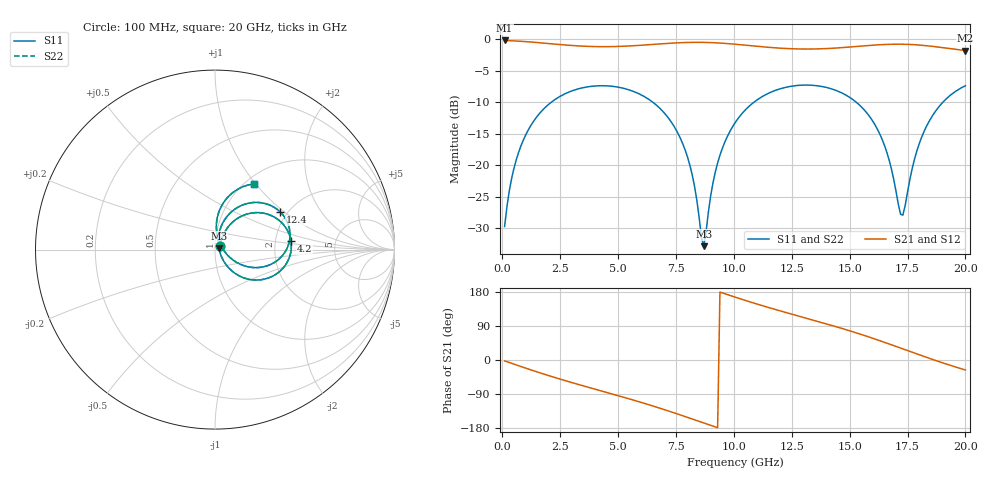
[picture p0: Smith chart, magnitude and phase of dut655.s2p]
! Touchstone file exported from HFSS 2026.1.0
!  File:  C:/ffzhzh/LocalFiles/Ansys_Project_Files/temp_train_TSV_RDL_655_1783129823_37876.aedt
!  Generated:  10:01:14 AM Jul  4, 2026
!  Design:  TSV_RDL
!  Project:  temp_train_TSV_RDL_655_1783129823_37876
! Variables:
!  h_bsmrdl = 4.31um
!  h_ox = 20um
!  h_rdl = 5um
!  h_sub = 64.74um
!  h_tmrdl = 5.51um
!  h_tsv = 64.74um
!  h_via = 3um
!  l_bsmrdl = 932.62um
!  l_sub = 6345.12um
!  l_tmrdl = 758um
!  m_sub = 200um
!  pitch = 40.49um
!  r_tsv = 13.31um
!  s_tmrdl = 10um
!  w_bsmrdl = 27.07um
!  w_sub = 500um
!  w_tmrdl = 11.35um
!  x_tsv_center1 = 763.675um
!  x_tsv_center2 = 1723.365um
!  x_tsv_center3 = 2492.715um
!  x_tsv_center4 = 3452.405um
!  x_tsv_center5 = 4221.755um
!  x_tsv_center6 = 5181.445um
# GHz S MA R 50.000000
! Terminal data exported
! Port[1] = TM_RDL1_1_T1
! Port[2] = TM_RDL5_1_T1
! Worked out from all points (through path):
!   200 points, 100 MHz to 20 GHz, reference 50 ohm
!   highest |S21| = -0.23 dB at 100 MHz (marker M1); lowest = -1.8 dB at 20 GHz (marker M2)
!   group delay of S21, straight-line fit = 53 ps
!   lowest |S11| = -32.8 dB at 8.7 GHz (marker M3), VSWR 1.05, Z = 52.2 + j0.681 ohm
!   |S11| at or under -10 dB: start of sweep to 2.125 GHz; 6.493 GHz to 10.88 GHz (4.382 GHz wide, 50.5 % of centre); 15.28 GHz to 19.04 GHz (3.756 GHz wide, 21.9 % of centre)
!   |S22| runs from -32.7 to -7.3 dB; largest |S21 - S12| = 1.7e-14
!   S11 on the Smith chart (normalised r, x): 100 MHz: 1.05, +0.04; 4.2 GHz: 2.45, +0.28; 12.4 GHz: 1.84, +0.93; 20 GHz: 1.10, +0.98
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0.1  0.03267 34.2  0.9735 -2.3  0.9735 -2.3  0.03267 34.2
! Gamma 0 0 0 0
! Port Impedance 50 0 50 0
0.5  0.09388 60.4  0.9659 -10.8  0.9659 -10.8  0.09388 60.4
1.2  0.2015 55.5  0.9478 -25.4  0.9478 -25.4  0.2015 55.6
2.2  0.3239 39.4  0.9129 -44.9  0.9129 -44.9  0.3239 39.4
3.5  0.4116 17.7  0.877 -68.3  0.877 -68.3  0.4116 17.7
4.2  0.426 6.3  0.8695 -80.3  0.8695 -80.3  0.4259 6.3
6.8  0.2828 -36.9  0.9137 -127.1  0.9137 -127.1  0.2828 -36.8
8  0.1157 -53.6  0.9387 -151.4  0.9387 -151.4  0.1157 -53.4
8.3  0.06845 -51.6  0.9407 -157.7  0.9407 -157.7  0.0685 -51.2
8.7  0.02281 16.6  0.9398 -166.1  0.9398 -166.1  0.02327 16.7
9  0.05718 71.4  0.9365 -172.4  0.9365 -172.4  0.05745 71.0
9.3  0.1042 76.1  0.9309 -178.7  0.9309 -178.7  0.1044 75.9
10.1  0.2232 67.2  0.9076 165.0  0.9076 165.0  0.2233 67.1
12.4  0.4197 29.9  0.8382 122.7  0.8382 122.7  0.4197 29.9
13.4  0.4295 14.2  0.833 105.7  0.833 105.7  0.4295 14.2
15.5  0.2906 -19.1  0.8786 67.5  0.8786 67.5  0.2906 -19.0
16.7  0.111 -29.7  0.9072 42.5  0.9072 42.5  0.111 -29.6
17.2  0.04083 13.7  0.9093 31.5  0.9093 31.5  0.04105 13.8
17.3  0.04021 38.8  0.9087 29.3  0.9087 29.3  0.04047 38.9
17.8  0.1112 85.8  0.9008 18.3  0.9008 18.3  0.1113 85.7
18.3  0.1998 84.9  0.8853 7.4  0.8853 7.4  0.1999 84.8
20  0.426 59.1  0.8099 -26.4  0.8099 -26.4  0.4261 59.1
